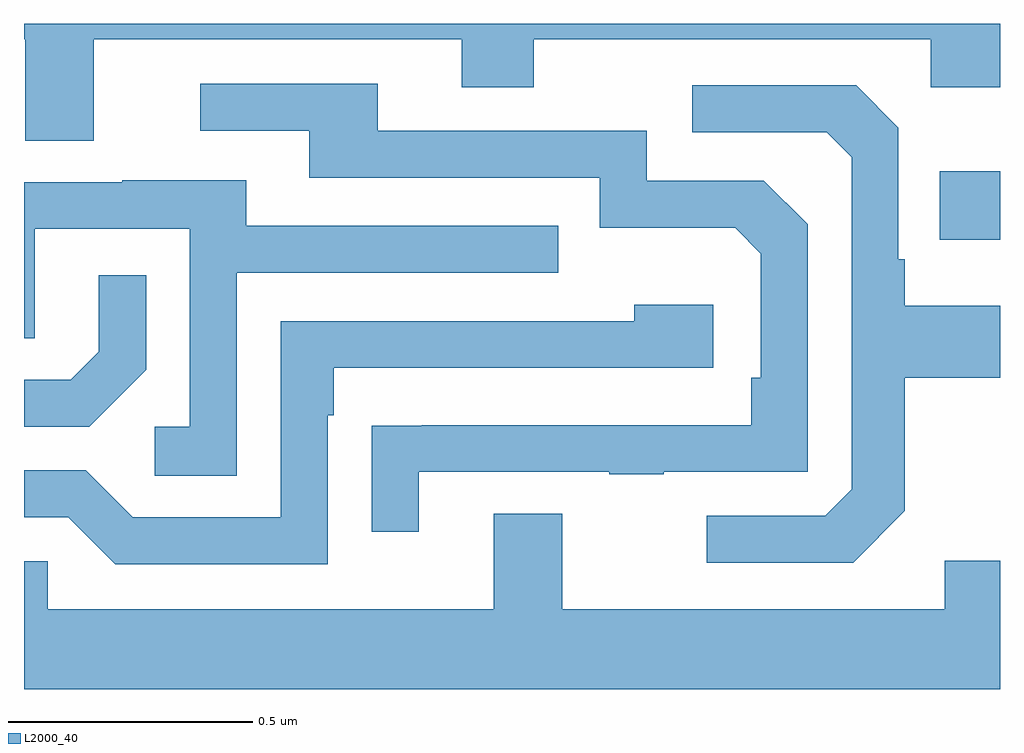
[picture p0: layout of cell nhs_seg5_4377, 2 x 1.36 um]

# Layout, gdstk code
import gdstk
lib = gdstk.Library(unit=1e-6, precision=1e-09)
def R(c, l, rs):  # rectangles x0, y0, x1, y1
    for r in rs: c.add(gdstk.rectangle(r[:2], r[2:], *l))
def P(c, l, *ps):  # polygons
    for p in ps: c.add(gdstk.Polygon(p, *l))
L2000_40 = (2000, 40)

nhs_seg5_4377 = lib.new_cell('nhs_seg5_4377')
R(nhs_seg5_4377, L2000_40, [(171.877,848.357,172,848.497)])
P(nhs_seg5_4377, L2000_40, [(170.143,848.768),(170.897,848.768),(170.897,848.669),(171.045,848.669),(171.045,848.768),(171.858,848.768),(171.858,848.669),(172,848.669),(172,848.799),(170,848.799),(170,848.768),(170.003,848.768),(170.003,848.56),(170.143,848.56)],
  [(170.809,847.881),(171.199,847.881),(171.199,847.876),(171.311,847.876),(171.311,847.881),(171.606,847.881),(171.606,848.388),(171.516,848.478),(171.276,848.478),(171.276,848.58),(170.725,848.58),(170.725,848.676),(170.361,848.676),(170.361,848.58),(170.585,848.58),(170.585,848.484),(171.18,848.484),(171.18,848.381),(171.457,848.381),(171.51,848.328),(171.51,848.074),(171.49,848.074),(171.49,847.977),(170.815,847.977),(170.815,847.976),(170.713,847.976),(170.713,847.758),(170.809,847.758)],
  [(171.805,847.801),(171.805,848.074),(172,848.074),(172,848.221),(171.805,848.221),(171.805,848.317),(171.792,848.317),(171.792,848.586),(171.705,848.673),(171.369,848.673),(171.369,848.577),(171.645,848.577),(171.696,848.526),(171.696,847.845),(171.642,847.791),(171.399,847.791),(171.399,847.695),(171.699,847.695)],
  [(170.436,848.289),(171.095,848.289),(171.095,848.385),(170.455,848.385),(170.455,848.479),(170.201,848.479),(170.201,848.475),(170,848.475),(170,848.155),(170.022,848.155),(170.022,848.379),(170.34,848.379),(170.34,847.974),(170.268,847.974),(170.268,847.873),(170.436,847.873)],
  [(170.25,848.09),(170.25,848.284),(170.153,848.284),(170.153,848.127),(170.096,848.07),(170,848.07),(170,847.974),(170.134,847.974)],
  [(170.622,847.997),(170.635,847.997),(170.635,848.094),(171.412,848.094),(171.412,848.224),(171.251,848.224),(171.251,848.19),(170.526,848.19),(170.526,847.788),(170.223,847.788),(170.127,847.884),(170,847.884),(170,847.788),(170.091,847.788),(170.187,847.692),(170.622,847.692)],
  [(172,847.699),(171.887,847.699),(171.887,847.6),(171.103,847.6),(171.103,847.795),(170.963,847.795),(170.963,847.6),(170.049,847.6),(170.049,847.698),(170,847.698),(170,847.436),(172,847.436)])

lib.write_gds('nhs_seg5_4377.gds')
